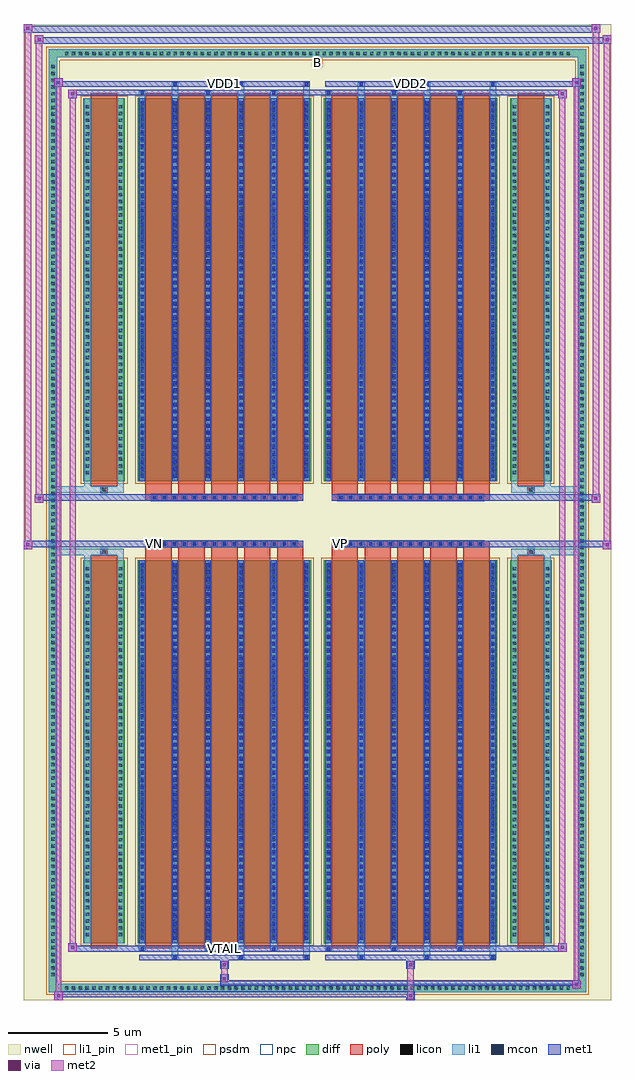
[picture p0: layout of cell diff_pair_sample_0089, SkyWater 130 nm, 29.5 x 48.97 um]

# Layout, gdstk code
import gdstk
lib = gdstk.Library(unit=1e-6, precision=5e-09)
def R(c, l, rs):  # rectangles x0, y0, x1, y1
    for r in rs: c.add(gdstk.rectangle(r[:2], r[2:], *l))
def A(c, l, x, y, w, h, nx, ny, dx, dy):  # array of equal rectangles
    R(c, l, [(x+i*dx, y+j*dy, x+i*dx+w, y+j*dy+h) for i in range(nx) for j in range(ny)])
def P(c, l, *ps):  # polygons
    for p in ps: c.add(gdstk.Polygon(p, *l))
nwell = (64, 20)
diff = (65, 20)
poly = (66, 20)
licon = (66, 44)
li1_pin = (67, 16)
li1 = (67, 20)
mcon = (67, 44)
met1_pin = (68, 16)
met1 = (68, 20)
via = (68, 44)
met2 = (69, 20)
psdm = (94, 20)
npc = (95, 20)

diff_pair_sample_0089 = lib.new_cell('diff_pair_sample_0089')
R(diff_pair_sample_0089, nwell, [(-14.75,-24.05,14.75,24.92), (-12.07,-22.24,-0.01,-0.8), (0.01,-22.24,12.07,-0.8), (-12.07,0.8,-0.01,22.24), (0.01,0.8,12.07,22.24)])
A(diff_pair_sample_0089, diff, -12.785, -23.65, 0.41, 0.41, 75, 2, 0.34, 46.89)
A(diff_pair_sample_0089, diff, -13.48, -22.985, 0.41, 0.41, 1, 135, 0, 0.34)
A(diff_pair_sample_0089, diff, 13.07, -22.985, 0.41, 0.41, 1, 135, 0, 0.34)
R(diff_pair_sample_0089, diff, [(-12.785,-23.65,12.785,-23.24), (-13.48,-22.985,-13.07,22.985), (13.07,-22.985,13.48,22.985), (-11.76,-21.195,-9.66,-1.985), (-9.02,-21.195,-0.32,-1.985), (0.32,-21.195,9.02,-1.985), (9.66,-21.195,11.76,-1.985), (-11.76,1.985,-9.66,21.195), (-9.02,1.985,-0.32,21.195), (0.32,1.985,9.02,21.195), (9.66,1.985,11.76,21.195), (-12.785,23.24,12.785,23.65)])
P(diff_pair_sample_0089, diff, [(13.48,23.65),(-13.48,23.65),(-13.48,-23.24),(-13.07,-23.24),(-13.07,23.24),(13.07,23.24),(13.07,-23.24),(-13.07,-23.24),(-13.48,-23.24),(-13.48,-23.65),(13.48,-23.65)])
A(diff_pair_sample_0089, poly, -8.63, -21.445, 1.32, 19.71, 5, 2, 1.65, 23.18)
A(diff_pair_sample_0089, poly, 0.71, -21.445, 1.32, 19.71, 5, 2, 1.65, 23.18)
A(diff_pair_sample_0089, poly, -8.63, -1.735, 1.32, 0.405, 5, 2, 1.65, 3.065)
A(diff_pair_sample_0089, poly, 0.71, -1.735, 1.32, 0.405, 5, 2, 1.65, 3.065)
A(diff_pair_sample_0089, poly, -8.335, -1.33, 0.33, 0.33, 15, 2, 0.5, 2.33)
A(diff_pair_sample_0089, poly, 1.005, -1.33, 0.33, 0.33, 15, 2, 0.5, 2.33)
R(diff_pair_sample_0089, poly, [(-11.37,-21.445,-10.05,-1.735), (10.05,-21.445,11.37,-1.735), (-10.875,-1.735,-10.545,-1.405), (-10.875,-1.735,-10.545,-1.405), (10.545,-1.735,10.875,-1.405), (10.545,-1.735,10.875,-1.405), (-8.63,-1.33,-0.71,-1), (0.71,-1.33,8.63,-1), (-8.63,1,-0.71,1.33), (0.71,1,8.63,1.33), (-10.875,1.405,-10.545,1.735), (-10.875,1.405,-10.545,1.735), (10.545,1.405,10.875,1.735), (10.545,1.405,10.875,1.735), (-11.37,1.735,-10.05,21.445), (10.05,1.735,11.37,21.445)])
A(diff_pair_sample_0089, licon, -12.665, -23.53, 0.17, 0.17, 75, 2, 0.34, 46.89)
A(diff_pair_sample_0089, licon, -13.36, -22.865, 0.17, 0.17, 1, 135, 0, 0.34)
A(diff_pair_sample_0089, licon, 13.19, -22.865, 0.17, 0.17, 1, 135, 0, 0.34)
A(diff_pair_sample_0089, licon, -11.62, -20.855, 0.17, 0.17, 1, 55, 0, 0.34)
A(diff_pair_sample_0089, licon, -9.97, -20.855, 0.17, 0.17, 1, 55, 0, 0.34)
A(diff_pair_sample_0089, licon, -8.88, -20.855, 0.17, 0.17, 6, 55, 1.65, 0.34)
A(diff_pair_sample_0089, licon, 0.46, -20.855, 0.17, 0.17, 6, 55, 1.65, 0.34)
A(diff_pair_sample_0089, licon, 9.8, -20.855, 0.17, 0.17, 1, 55, 0, 0.34)
A(diff_pair_sample_0089, licon, 11.45, -20.855, 0.17, 0.17, 1, 55, 0, 0.34)
A(diff_pair_sample_0089, licon, -8.255, -1.25, 0.17, 0.17, 15, 2, 0.5, 2.33)
A(diff_pair_sample_0089, licon, 1.085, -1.25, 0.17, 0.17, 15, 2, 0.5, 2.33)
A(diff_pair_sample_0089, licon, -11.62, 2.325, 0.17, 0.17, 1, 55, 0, 0.34)
A(diff_pair_sample_0089, licon, -9.97, 2.325, 0.17, 0.17, 1, 55, 0, 0.34)
A(diff_pair_sample_0089, licon, -8.88, 2.325, 0.17, 0.17, 6, 55, 1.65, 0.34)
A(diff_pair_sample_0089, licon, 0.46, 2.325, 0.17, 0.17, 6, 55, 1.65, 0.34)
A(diff_pair_sample_0089, licon, 9.8, 2.325, 0.17, 0.17, 1, 55, 0, 0.34)
A(diff_pair_sample_0089, licon, 11.45, 2.325, 0.17, 0.17, 1, 55, 0, 0.34)
R(diff_pair_sample_0089, licon, [(-10.795,-1.655,-10.625,-1.485), (10.625,-1.655,10.795,-1.485), (-10.795,1.485,-10.625,1.655), (10.625,1.485,10.795,1.655)])
R(diff_pair_sample_0089, li1_pin, [(-0.25,22.74,0.25,23.24)])
A(diff_pair_sample_0089, li1, -12.745, -23.61, 0.33, 0.33, 75, 2, 0.34, 46.89)
A(diff_pair_sample_0089, li1, -13.44, -22.945, 0.33, 0.33, 1, 135, 0, 0.34)
A(diff_pair_sample_0089, li1, 13.11, -22.945, 0.33, 0.33, 1, 135, 0, 0.34)
A(diff_pair_sample_0089, li1, -7.31, -22, 0.33, 0.805, 3, 2, 3.3, 43.195)
A(diff_pair_sample_0089, li1, -7.23, -22, 0.17, 0.17, 3, 2, 3.3, 43.83)
A(diff_pair_sample_0089, li1, 2.03, -22, 0.33, 0.805, 3, 2, 3.3, 43.195)
A(diff_pair_sample_0089, li1, 2.11, -22, 0.17, 0.17, 3, 2, 3.3, 43.83)
A(diff_pair_sample_0089, li1, -8.96, -21.57, 0.33, 0.375, 3, 2, 3.3, 42.765)
A(diff_pair_sample_0089, li1, -8.88, -21.57, 0.17, 0.17, 3, 2, 3.3, 42.97)
A(diff_pair_sample_0089, li1, 0.38, -21.57, 0.33, 0.375, 3, 2, 3.3, 42.765)
A(diff_pair_sample_0089, li1, 0.46, -21.57, 0.17, 0.17, 3, 2, 3.3, 42.97)
A(diff_pair_sample_0089, li1, -8.96, -21.195, 0.33, 19.21, 6, 2, 1.65, 23.18)
A(diff_pair_sample_0089, li1, 0.38, -21.195, 0.33, 19.21, 6, 2, 1.65, 23.18)
A(diff_pair_sample_0089, li1, -8.88, -21.035, 0.17, 0.17, 6, 53, 1.65, 0.36)
A(diff_pair_sample_0089, li1, -8.88, -21.035, 0.17, 18.89, 6, 2, 1.65, 23.18)
A(diff_pair_sample_0089, li1, 0.46, -21.035, 0.17, 0.17, 6, 53, 1.65, 0.36)
A(diff_pair_sample_0089, li1, 0.46, -21.035, 0.17, 18.89, 6, 2, 1.65, 23.18)
A(diff_pair_sample_0089, li1, -11.7, -20.935, 0.33, 0.33, 1, 55, 0, 0.34)
A(diff_pair_sample_0089, li1, -10.05, -20.935, 0.33, 0.33, 1, 55, 0, 0.34)
A(diff_pair_sample_0089, li1, -8.96, -20.935, 0.33, 0.33, 6, 55, 1.65, 0.34)
A(diff_pair_sample_0089, li1, 0.38, -20.935, 0.33, 0.33, 6, 55, 1.65, 0.34)
A(diff_pair_sample_0089, li1, 9.72, -20.935, 0.33, 0.33, 1, 55, 0, 0.34)
A(diff_pair_sample_0089, li1, 11.37, -20.935, 0.33, 0.33, 1, 55, 0, 0.34)
A(diff_pair_sample_0089, li1, -8.335, -1.33, 0.33, 0.33, 15, 2, 0.5, 2.33)
A(diff_pair_sample_0089, li1, 1.005, -1.33, 0.33, 0.33, 15, 2, 0.5, 2.33)
A(diff_pair_sample_0089, li1, -8.88, 2.145, 0.17, 0.17, 6, 53, 1.65, 0.36)
A(diff_pair_sample_0089, li1, 0.46, 2.145, 0.17, 0.17, 6, 53, 1.65, 0.36)
A(diff_pair_sample_0089, li1, -11.7, 2.245, 0.33, 0.33, 1, 55, 0, 0.34)
A(diff_pair_sample_0089, li1, -10.05, 2.245, 0.33, 0.33, 1, 55, 0, 0.34)
A(diff_pair_sample_0089, li1, -8.96, 2.245, 0.33, 0.33, 6, 55, 1.65, 0.34)
A(diff_pair_sample_0089, li1, 0.38, 2.245, 0.33, 0.33, 6, 55, 1.65, 0.34)
A(diff_pair_sample_0089, li1, 9.72, 2.245, 0.33, 0.33, 1, 55, 0, 0.34)
A(diff_pair_sample_0089, li1, 11.37, 2.245, 0.33, 0.33, 1, 55, 0, 0.34)
R(diff_pair_sample_0089, li1, [(-13.48,-23.65,-13.07,-23.24), (-13.48,-23.65,-13.07,-23.24), (-13.07,-23.65,13.07,-23.24), (13.07,-23.65,13.48,-23.24), (13.07,-23.65,13.48,-23.24), (-13.48,-23.24,-13.07,23.24), (13.07,-23.24,13.48,23.24), (-11.7,-21.195,-11.37,-1.985), (-10.05,-21.195,-9.72,-1.985), (9.72,-21.195,10.05,-1.985), (11.37,-21.195,11.7,-1.985), (-11.7,-1.985,-11.37,-1.405), (-10.05,-1.985,-9.72,-1.405), (9.72,-1.985,10.05,-1.405), (11.37,-1.985,11.7,-1.405), (-13.48,-1.735,-10.875,-1.405), (-11.7,-1.735,-10.875,-1.405), (-10.875,-1.735,-10.545,-1.405), (-10.545,-1.735,-9.72,-1.405), (9.72,-1.735,10.545,-1.405), (10.545,-1.735,10.875,-1.405), (10.545,-1.735,13.48,-1.405), (10.875,-1.735,11.7,-1.405), (-13.48,1.405,-10.875,1.735), (-11.7,1.405,-10.875,1.735), (-11.7,1.405,-11.37,1.985), (-10.875,1.405,-10.545,1.735), (-10.545,1.405,-9.72,1.735), (-10.05,1.405,-9.72,1.985), (9.72,1.405,10.545,1.735), (9.72,1.405,10.05,1.985), (10.545,1.405,10.875,1.735), (10.545,1.405,13.48,1.735), (10.875,1.405,11.7,1.735), (11.37,1.405,11.7,1.985), (-11.7,1.985,-11.37,21.195), (-10.05,1.985,-9.72,21.195), (9.72,1.985,10.05,21.195), (11.37,1.985,11.7,21.195), (-13.48,23.24,-13.07,23.65), (-13.48,23.24,-13.07,23.65), (-13.07,23.24,13.07,23.65), (13.07,23.24,13.48,23.65), (13.07,23.24,13.48,23.65)])
A(diff_pair_sample_0089, mcon, -7.23, -22, 0.17, 0.17, 3, 2, 3.3, 43.83)
A(diff_pair_sample_0089, mcon, 2.11, -22, 0.17, 0.17, 3, 2, 3.3, 43.83)
A(diff_pair_sample_0089, mcon, -8.88, -21.57, 0.17, 0.17, 3, 2, 3.3, 42.97)
A(diff_pair_sample_0089, mcon, 0.46, -21.57, 0.17, 0.17, 3, 2, 3.3, 42.97)
A(diff_pair_sample_0089, mcon, -8.88, -21.035, 0.17, 0.17, 6, 53, 1.65, 0.36)
A(diff_pair_sample_0089, mcon, 0.46, -21.035, 0.17, 0.17, 6, 53, 1.65, 0.36)
A(diff_pair_sample_0089, mcon, -8.255, -1.25, 0.17, 0.17, 15, 2, 0.5, 2.33)
A(diff_pair_sample_0089, mcon, 1.085, -1.25, 0.17, 0.17, 15, 2, 0.5, 2.33)
A(diff_pair_sample_0089, mcon, -8.88, 2.145, 0.17, 0.17, 6, 53, 1.65, 0.36)
A(diff_pair_sample_0089, mcon, 0.46, 2.145, 0.17, 0.17, 6, 53, 1.65, 0.36)
R(diff_pair_sample_0089, met1_pin, [(-4.805,-21.61,-4.535,-21.34), (-8.305,-1.29,-8.035,-1.02), (1.035,-1.29,1.305,-1.02), (-4.805,21.79,-4.535,22.06), (4.535,21.79,4.805,22.06)])
A(diff_pair_sample_0089, met1, -7.29, -22.06, 0.29, 0.29, 3, 2, 3.3, 43.83)
A(diff_pair_sample_0089, met1, 2.05, -22.06, 0.29, 0.29, 3, 2, 3.3, 43.83)
A(diff_pair_sample_0089, met1, -8.94, -21.63, 0.29, 0.29, 3, 2, 3.3, 42.97)
A(diff_pair_sample_0089, met1, 0.4, -21.63, 0.29, 0.29, 3, 2, 3.3, 42.97)
A(diff_pair_sample_0089, met1, -8.94, -21.195, 0.29, 19.21, 6, 2, 1.65, 23.18)
A(diff_pair_sample_0089, met1, 0.4, -21.195, 0.29, 19.21, 6, 2, 1.65, 23.18)
A(diff_pair_sample_0089, met1, -8.94, -21.095, 0.29, 0.29, 6, 53, 1.65, 0.36)
A(diff_pair_sample_0089, met1, 0.4, -21.095, 0.29, 0.29, 6, 53, 1.65, 0.36)
A(diff_pair_sample_0089, met1, -8.315, -1.31, 0.29, 0.29, 15, 2, 0.5, 2.33)
A(diff_pair_sample_0089, met1, 1.025, -1.31, 0.29, 0.29, 15, 2, 0.5, 2.33)
A(diff_pair_sample_0089, met1, -8.94, 2.085, 0.29, 0.29, 6, 53, 1.65, 0.36)
A(diff_pair_sample_0089, met1, 0.4, 2.085, 0.29, 0.29, 6, 53, 1.65, 0.36)
R(diff_pair_sample_0089, met1, [(-13.21,-24.05,-12.78,-23.62), (4.455,-24.05,4.885,-23.62), (-13.21,-23.91,4.885,-23.62), (12.78,-23.48,13.21,-23.05), (-4.885,-23.34,13.21,-23.05), (-4.885,-23.2,-4.455,-22.77), (-4.885,-22.49,-4.455,-22.06), (4.455,-22.49,4.885,-22.06), (-8.94,-22.06,-0.4,-21.77), (0.4,-22.06,8.94,-21.77), (-12.5,-21.63,-12.07,-21.2), (-12.5,-21.63,-8.94,-21.34), (-8.94,-21.63,-0.4,-21.34), (-0.4,-21.63,0.4,-21.34), (0.4,-21.63,8.94,-21.34), (8.94,-21.63,12.5,-21.34), (12.07,-21.63,12.5,-21.2), (-14.75,-1.43,-14.32,-1), (14.32,-1.43,14.75,-1), (-14.75,-1.33,-0.71,-1), (-8.63,-1.33,-0.71,-1), (0.71,-1.33,8.63,-1), (0.71,-1.33,14.75,-1), (-14.18,0.9,-13.75,1.33), (13.75,0.9,14.18,1.33), (-14.18,1,-8.63,1.33), (-8.63,1,-0.71,1.33), (0.71,1,8.63,1.33), (8.63,1,14.18,1.33), (-12.5,21.2,-12.07,21.63), (12.07,21.2,12.5,21.63), (-12.5,21.34,-8.94,21.63), (-8.94,21.34,-0.4,21.63), (-0.4,21.34,0.4,21.63), (0.4,21.34,8.94,21.63), (8.94,21.34,12.5,21.63), (-13.21,21.77,-12.78,22.2), (-13.21,21.77,-8.94,22.06), (-8.94,21.77,-0.4,22.06), (0.4,21.77,8.94,22.06), (8.94,21.77,13.21,22.06), (12.78,21.77,13.21,22.2), (-14.18,23.92,-13.75,24.35), (-14.18,23.92,-12.07,24.25), (-12.07,23.92,12.07,24.25), (12.07,23.92,14.75,24.25), (14.32,23.92,14.75,24.35), (-14.75,24.49,-14.32,24.92), (-14.75,24.49,-12.07,24.82), (-12.07,24.49,12.07,24.82), (12.07,24.49,14.18,24.82), (13.75,24.49,14.18,24.92)])
R(diff_pair_sample_0089, via, [(-13.07,-23.91,-12.92,-23.76), (4.595,-23.91,4.745,-23.76), (12.92,-23.34,13.07,-23.19), (-4.745,-23.06,-4.595,-22.91), (-4.745,-22.35,-4.595,-22.2), (4.595,-22.35,4.745,-22.2), (-12.36,-21.49,-12.21,-21.34), (12.21,-21.49,12.36,-21.34), (-14.61,-1.29,-14.46,-1.14), (14.46,-1.29,14.61,-1.14), (-14.04,1.04,-13.89,1.19), (13.89,1.04,14.04,1.19), (-12.36,21.34,-12.21,21.49), (12.21,21.34,12.36,21.49), (-13.07,21.91,-12.92,22.06), (12.92,21.91,13.07,22.06), (-14.04,24.06,-13.89,24.21), (14.46,24.06,14.61,24.21), (-14.61,24.63,-14.46,24.78), (13.89,24.63,14.04,24.78)])
R(diff_pair_sample_0089, met2, [(-13.21,-24.05,-12.78,-23.62), (-13.14,-24.05,-12.85,22.2), (-12.85,-24.05,-12.78,-23.62), (-13.16,-24,-12.83,-23.67), (4.505,-24,4.835,-23.67), (4.505,-23.67,4.835,-22.44), (12.78,-23.48,13.21,-23.05), (12.85,-23.48,13.14,22.2), (13.14,-23.48,13.21,-23.05), (12.83,-23.43,13.16,-23.1), (-4.835,-23.15,-4.505,-22.82), (-4.835,-22.82,-4.505,-22.44), (-4.835,-22.44,-4.505,-22.11), (4.505,-22.44,4.835,-22.11), (-12.5,-21.63,-12.07,-21.2), (-12.43,-21.63,-12.14,21.63), (-12.14,-21.63,-12.07,-21.2), (12.07,-21.63,12.5,-21.2), (12.14,-21.63,12.43,21.63), (12.43,-21.63,12.5,-21.2), (-12.45,-21.58,-12.12,-21.25), (12.12,-21.58,12.45,-21.25), (-14.75,-1.43,-14.32,-1), (-14.7,-1.43,-14.37,24.92), (-14.37,-1.43,-14.32,-1), (14.32,-1.43,14.75,-1), (14.37,-1.43,14.7,24.35), (14.7,-1.43,14.75,-1), (-14.7,-1.38,-14.37,-1.05), (14.37,-1.38,14.7,-1.05), (-14.18,0.9,-13.75,1.33), (-14.13,0.9,-13.8,24.35), (-13.8,0.9,-13.75,1.33), (13.75,0.9,14.18,1.33), (13.8,0.9,14.13,24.92), (14.13,0.9,14.18,1.33), (-14.13,0.95,-13.8,1.28), (13.8,0.95,14.13,1.28), (-12.5,21.2,-12.07,21.63), (-12.14,21.2,-12.07,21.63), (12.07,21.2,12.5,21.63), (12.43,21.2,12.5,21.63), (-12.45,21.25,-12.12,21.58), (12.12,21.25,12.45,21.58), (-13.21,21.77,-12.78,22.2), (-12.85,21.77,-12.78,22.2), (12.78,21.77,13.21,22.2), (13.14,21.77,13.21,22.2), (-13.16,21.82,-12.83,22.15), (12.83,21.82,13.16,22.15), (-14.18,23.92,-13.75,24.35), (-13.8,23.92,-13.75,24.35), (14.32,23.92,14.75,24.35), (14.7,23.92,14.75,24.35), (-14.13,23.97,-13.8,24.3), (14.37,23.97,14.7,24.3), (-14.75,24.49,-14.32,24.92), (-14.37,24.49,-14.32,24.92), (13.75,24.49,14.18,24.92), (14.13,24.49,14.18,24.92), (-14.7,24.54,-14.37,24.87), (13.8,24.54,14.13,24.87)])
R(diff_pair_sample_0089, psdm, [(-11.89,-21.325,-9.53,-1.855), (-9.15,-21.325,-0.19,-1.855), (0.19,-21.325,9.15,-1.855), (9.53,-21.325,11.89,-1.855), (-11.89,1.855,-9.53,21.325), (-9.15,1.855,-0.19,21.325), (0.19,1.855,9.15,21.325), (9.53,1.855,11.89,21.325)])
P(diff_pair_sample_0089, psdm, [(13.61,23.78),(-13.61,23.78),(-13.61,-23.11),(-12.94,-23.11),(-12.94,23.11),(12.94,23.11),(12.94,-23.11),(-12.94,-23.11),(-13.61,-23.11),(-13.61,-23.78),(13.61,-23.78)])
A(diff_pair_sample_0089, npc, -8.355, -1.35, 0.37, 0.37, 15, 2, 0.5, 2.33)
A(diff_pair_sample_0089, npc, 0.985, -1.35, 0.37, 0.37, 15, 2, 0.5, 2.33)
R(diff_pair_sample_0089, npc, [(-10.895,-1.755,-10.525,-1.385), (10.525,-1.755,10.895,-1.385), (-8.355,-1.35,-7.485,-0.98), (-8.355,-1.35,-7.485,-0.98), (-7.855,-1.35,-6.985,-0.98), (-7.855,-1.35,-6.985,-0.98), (-7.355,-1.35,-6.485,-0.98), (-7.355,-1.35,-6.485,-0.98), (-6.855,-1.35,-5.985,-0.98), (-6.855,-1.35,-5.985,-0.98), (-6.355,-1.35,-5.485,-0.98), (-6.355,-1.35,-5.485,-0.98), (-5.855,-1.35,-4.985,-0.98), (-5.855,-1.35,-4.985,-0.98), (-5.355,-1.35,-4.485,-0.98), (-5.355,-1.35,-4.485,-0.98), (-4.855,-1.35,-3.985,-0.98), (-4.855,-1.35,-3.985,-0.98), (-4.355,-1.35,-3.485,-0.98), (-4.355,-1.35,-3.485,-0.98), (-3.855,-1.35,-2.985,-0.98), (-3.855,-1.35,-2.985,-0.98), (-3.355,-1.35,-2.485,-0.98), (-3.355,-1.35,-2.485,-0.98), (-2.855,-1.35,-1.985,-0.98), (-2.855,-1.35,-1.985,-0.98), (-2.355,-1.35,-1.485,-0.98), (-2.355,-1.35,-1.485,-0.98), (-1.855,-1.35,-0.985,-0.98), (-1.855,-1.35,-0.985,-0.98), (0.985,-1.35,1.855,-0.98), (0.985,-1.35,1.855,-0.98), (1.485,-1.35,2.355,-0.98), (1.485,-1.35,2.355,-0.98), (1.985,-1.35,2.855,-0.98), (1.985,-1.35,2.855,-0.98), (2.485,-1.35,3.355,-0.98), (2.485,-1.35,3.355,-0.98), (2.985,-1.35,3.855,-0.98), (2.985,-1.35,3.855,-0.98), (3.485,-1.35,4.355,-0.98), (3.485,-1.35,4.355,-0.98), (3.985,-1.35,4.855,-0.98), (3.985,-1.35,4.855,-0.98), (4.485,-1.35,5.355,-0.98), (4.485,-1.35,5.355,-0.98), (4.985,-1.35,5.855,-0.98), (4.985,-1.35,5.855,-0.98), (5.485,-1.35,6.355,-0.98), (5.485,-1.35,6.355,-0.98), (5.985,-1.35,6.855,-0.98), (5.985,-1.35,6.855,-0.98), (6.485,-1.35,7.355,-0.98), (6.485,-1.35,7.355,-0.98), (6.985,-1.35,7.855,-0.98), (6.985,-1.35,7.855,-0.98), (7.485,-1.35,8.355,-0.98), (7.485,-1.35,8.355,-0.98), (-8.355,0.98,-7.485,1.35), (-8.355,0.98,-7.485,1.35), (-7.855,0.98,-6.985,1.35), (-7.855,0.98,-6.985,1.35), (-7.355,0.98,-6.485,1.35), (-7.355,0.98,-6.485,1.35), (-6.855,0.98,-5.985,1.35), (-6.855,0.98,-5.985,1.35), (-6.355,0.98,-5.485,1.35), (-6.355,0.98,-5.485,1.35), (-5.855,0.98,-4.985,1.35), (-5.855,0.98,-4.985,1.35), (-5.355,0.98,-4.485,1.35), (-5.355,0.98,-4.485,1.35), (-4.855,0.98,-3.985,1.35), (-4.855,0.98,-3.985,1.35), (-4.355,0.98,-3.485,1.35), (-4.355,0.98,-3.485,1.35), (-3.855,0.98,-2.985,1.35), (-3.855,0.98,-2.985,1.35), (-3.355,0.98,-2.485,1.35), (-3.355,0.98,-2.485,1.35), (-2.855,0.98,-1.985,1.35), (-2.855,0.98,-1.985,1.35), (-2.355,0.98,-1.485,1.35), (-2.355,0.98,-1.485,1.35), (-1.855,0.98,-0.985,1.35), (-1.855,0.98,-0.985,1.35), (0.985,0.98,1.855,1.35), (0.985,0.98,1.855,1.35), (1.485,0.98,2.355,1.35), (1.485,0.98,2.355,1.35), (1.985,0.98,2.855,1.35), (1.985,0.98,2.855,1.35), (2.485,0.98,3.355,1.35), (2.485,0.98,3.355,1.35), (2.985,0.98,3.855,1.35), (2.985,0.98,3.855,1.35), (3.485,0.98,4.355,1.35), (3.485,0.98,4.355,1.35), (3.985,0.98,4.855,1.35), (3.985,0.98,4.855,1.35), (4.485,0.98,5.355,1.35), (4.485,0.98,5.355,1.35), (4.985,0.98,5.855,1.35), (4.985,0.98,5.855,1.35), (5.485,0.98,6.355,1.35), (5.485,0.98,6.355,1.35), (5.985,0.98,6.855,1.35), (5.985,0.98,6.855,1.35), (6.485,0.98,7.355,1.35), (6.485,0.98,7.355,1.35), (6.985,0.98,7.855,1.35), (6.985,0.98,7.855,1.35), (7.485,0.98,8.355,1.35), (7.485,0.98,8.355,1.35), (-10.895,1.385,-10.525,1.755), (10.525,1.385,10.895,1.755)])
diff_pair_sample_0089.add(gdstk.Label('VTAIL', (-4.67,-21.475), layer=68, texttype=5))
diff_pair_sample_0089.add(gdstk.Label('VN', (-8.17,-1.155), layer=68, texttype=5))
diff_pair_sample_0089.add(gdstk.Label('VP', (1.17,-1.155), layer=68, texttype=5))
diff_pair_sample_0089.add(gdstk.Label('B', (0,22.99), layer=67, texttype=5))
diff_pair_sample_0089.add(gdstk.Label('VDD2', (4.67,21.925), layer=68, texttype=5))
diff_pair_sample_0089.add(gdstk.Label('VDD1', (-4.67,21.925), layer=68, texttype=5))

lib.write_gds('diff_pair_sample_0089.gds')
